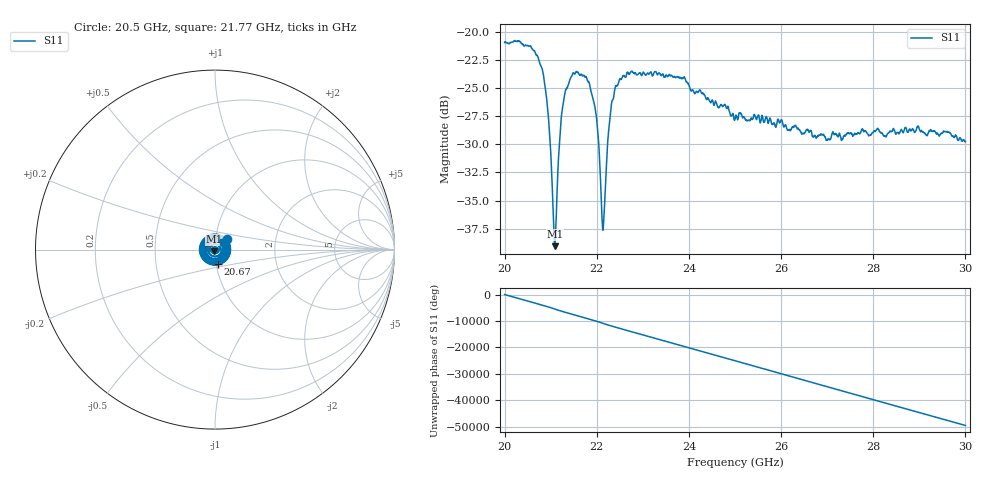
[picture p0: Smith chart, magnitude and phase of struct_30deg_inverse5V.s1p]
#  HZ  S  RI  R  50.00
! Rohde & Schwarz ZVA40 4Ports - Version 3.90 - 1145.1110k42 SN: 100403
! Date: 2023-09-28 10:01:04
! Measurement: S12
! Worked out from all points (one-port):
!   5001 points, 20 GHz to 30 GHz, reference 50 ohm
!   lowest |S11| = -39.0 dB at 21.09 GHz (marker M1), VSWR 1.02, Z = 49.6 - j1.04 ohm
!   |S11| at or under -10 dB: start of sweep to end of sweep
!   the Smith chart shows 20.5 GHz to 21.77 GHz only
!   S11 on the Smith chart (normalised r, x): 20.5 GHz: 1.13, +0.13; 20.67 GHz: 1.02, -0.16; 21.77 GHz: 1.09, +0.09
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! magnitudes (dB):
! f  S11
! 20 GHz  -21.0
! 20.5 GHz  -21.2
! 20.67 GHz  -22.0
! 20.82 GHz  -23.3
! 20.91 GHz  -25.8
! 20.98 GHz  -29.2
! 21.06 GHz  -36.7
! 21.09 GHz  -39.0
! 21.12 GHz  -36.3
! 21.2 GHz  -29.4
! 21.25 GHz  -26.9
! 21.46 GHz  -23.9
! 21.77 GHz  -24.0
! 21.98 GHz  -27.3
! 22.03 GHz  -29.4
! 22.11 GHz  -35.8
! 22.14 GHz  -37.6
! 22.17 GHz  -35.5
! 22.24 GHz  -29.5
! 22.3 GHz  -27.2
! 22.5 GHz  -24.2
! 23.75 GHz  -24.0
! 25 GHz  -27.8
! 26.25 GHz  -28.4
! 27.02 GHz  -29.5
! 27.5 GHz  -29.0
! 28.75 GHz  -28.9
! 30 GHz  -29.8
